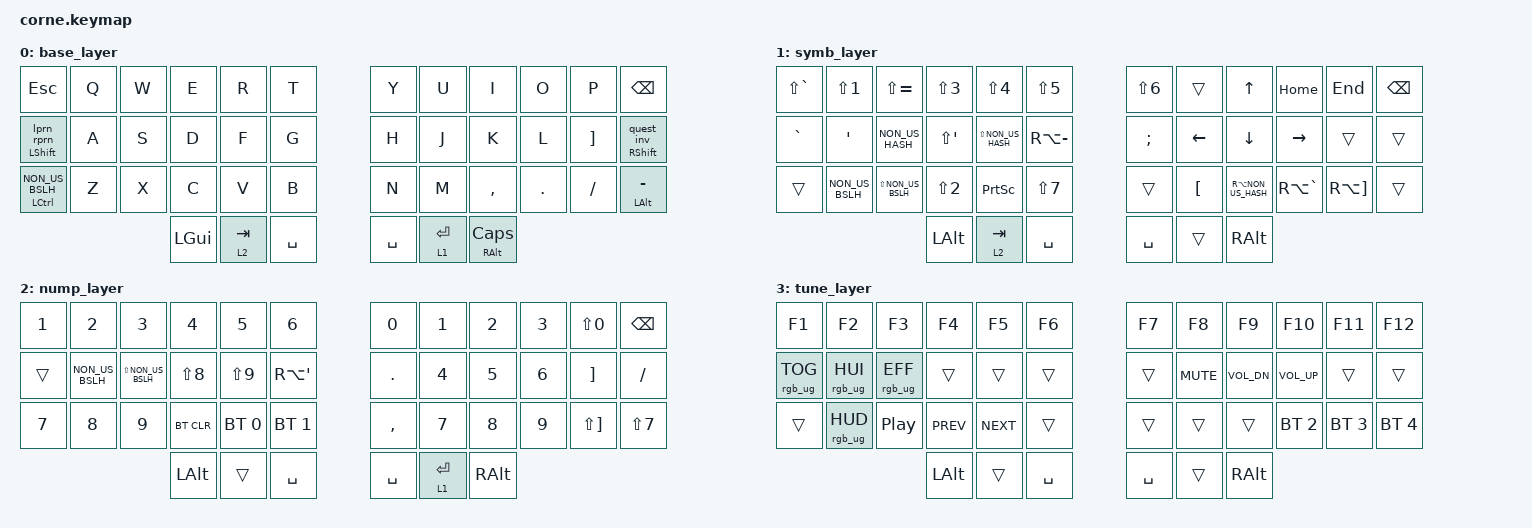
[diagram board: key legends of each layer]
/*
 * Corne keymap - Layout Latinoamericano
 * Traducido desde QMK a ZMK
 *
 * Layers:
 *   0 = BASE
 *   1 = SYMB
 *   2 = NUMP
 *   3 = TUNE  (se activa cuando SYMB y NUMP están activos al mismo tiempo)
 *
 * Notas de traducción QMK → ZMK:
 *   - MT(LAYER, TAB) / MT(LAYER, ENT) → &lt (layer-tap)
 *   - LSFT_T(LPRN) → tap=(  hold=LSHIFT   [RSHIFT+tap=) via mod-morph]
 *   - RSFT_T(QUEST_INV) → tap=¿  hold=RSHIFT  [LSHIFT+tap=? via mod-morph]
 *   - LCTL_T(LINEQ) → tap=<  hold=LCTRL
 *   - LALT_T(QUOTE) → tap='  hold=LALT
 *   - RALT_T(CAPS)  → tap=CAPS hold=RALT
 *   - update_tri_layer → en ZMK se define en conditional_layers
 *   - RGB → ZMK usa &rgb_ug, incluido en TUNE layer
 *   - Los keycodes están ajustados para layout LATINOAMERICANO en Windows
 */

#include <behaviors.dtsi>
#include <dt-bindings/zmk/keys.h>
#include <dt-bindings/zmk/bt.h>
#include <dt-bindings/zmk/rgb.h>
#include <dt-bindings/zmk/outputs.h>

/* ── Aliases de teclas para layout latinoamericano en Windows ───────────────*/

#define LA_Q     Q
#define LA_W     W
#define LA_E     E
#define LA_R     R
#define LA_T     T
#define LA_Y     Y
#define LA_U     U
#define LA_I     I
#define LA_O     O
#define LA_P     P
#define LA_A     A
#define LA_S     S
#define LA_D     D
#define LA_F     F
#define LA_G     G
#define LA_H     H
#define LA_J     J
#define LA_K     K
#define LA_L     L
#define LA_NTIL  SEMI
#define LA_Z     Z
#define LA_X     X
#define LA_C     C
#define LA_V     V
#define LA_B     B
#define LA_N     N
#define LA_M     M

#define LA_1     N1
#define LA_2     N2
#define LA_3     N3
#define LA_4     N4
#define LA_5     N5
#define LA_6     N6
#define LA_7     N7
#define LA_8     N8
#define LA_9     N9
#define LA_0     N0

#define LA_ENT   RET
#define LA_BSPC  BSPC
#define LA_SPC   SPACE
#define LA_ESC   ESC
#define LA_TAB   TAB
#define LA_DEL   DEL
#define LA_CAPS  CAPS

#define LA_LEFT  LEFT
#define LA_DOWN  DOWN
#define LA_UP    UP
#define LA_RIGHT RIGHT
#define LA_PGDN  PG_DN
#define LA_PGUP  PG_UP
#define LA_HOME  HOME
#define LA_END   END
#define LA_PSCR  PSCRN
#define LA_INS   INS

#define LA_LCTRL LCTRL
#define LA_LCMD  LGUI
#define LA_LSFT  LSHFT
#define LA_RSFT  RSHFT
#define LA_ALTGR RALT
#define LA_ALT   LALT

#define LA_VOLU  C_VOL_UP
#define LA_VOLD  C_VOL_DN
#define LA_MUTE  C_MUTE
#define LA_MNXT  C_NEXT
#define LA_MPRV  C_PREV
#define LA_MPLY  C_PP

#define LA_F1    F1
#define LA_F2    F2
#define LA_F3    F3
#define LA_F4    F4
#define LA_F5    F5
#define LA_F6    F6
#define LA_F7    F7
#define LA_F8    F8
#define LA_F9    F9
#define LA_F10   F10
#define LA_F11   F11
#define LA_F12   F12

/* ── Símbolos en layout latinoamericano ─────────────────────────────────────*/

#define LA_QUOTE     MINUS
#define LA_PLUS      RBKT
#define LA_MINUS     FSLH
#define LA_LINEQ     NON_US_BSLH
#define LA_PIPE      GRAVE
#define LA_ACUTE     LBKT
#define LA_LCBRC     SQT
#define LA_RCBRC     NON_US_HASH
#define LA_QUEST_INV EQUAL

#define LA_EXLM      LS(N1)
#define LA_DQUO      LS(N2)
#define LA_HASH      LS(N3)
#define LA_DOLLAR    LS(N4)
#define LA_PERC      LS(N5)
#define LA_AMPR      LS(N6)
#define LA_SLASH     LS(N7)
#define LA_LPRN      LS(N8)
#define LA_RPRN      LS(N9)
#define LA_EQUAL     LS(N0)
#define LA_QUEST     LS(MINUS)
#define LA_EXLM_INV  LS(EQUAL)
#define LA_SCLN      LS(COMMA)
#define LA_COLON     LS(DOT)
#define LA_LSBRC     LS(SQT)
#define LA_RSBRC     LS(NON_US_HASH)
#define LA_ASTR      LS(RBKT)
#define LA_UNDS      LS(FSLH)
#define LA_RINEQ     LS(NON_US_BSLH)
#define LA_DEGREE    LS(GRAVE)
#define LA_DIAER     LS(LBKT)

#define LA_AT        RA(Q)
#define LA_TILDE     RA(RBKT)
#define LA_CIRC      RA(SQT)
#define LA_BSLS      RA(MINUS)
#define LA_GRAVE     RA(NON_US_HASH)
#define LA_NEG       RA(GRAVE)

/* ══════════════════════════════════════════════════════════════════════════════
   CONFIGURACIÓN DE BEHAVIORS
   ══════════════════════════════════════════════════════════════════════════════ */

/ {

    conditional_layers {
        compatible = "zmk,conditional-layers";
        tune_layer {
            if-layers = <1 2>;
            then-layer = <3>;
        };
    };

    behaviors {

        /* TAB / layer NUMP: tap=TAB, hold=layer 2 */
        lt_tab: lt_tab {
            compatible = "zmk,behavior-hold-tap";
            #binding-cells = <2>;
            flavor = "tap-preferred";
            tapping-term-ms = <125>;
            bindings = <&mo>, <&kp>;
        };

        /* ENT / layer SYMB: tap=ENTER, hold=layer 1 */
        lt_ent: lt_ent {
            compatible = "zmk,behavior-hold-tap";
            #binding-cells = <2>;
            flavor = "tap-preferred";
            tapping-term-ms = <125>;
            bindings = <&mo>, <&kp>;
        };

        /*
         * lprn_rprn — mod-morph para la tecla izquierda de shift:
         *   sin modificador  → (
         *   con RSHIFT       → )
         *   (solo MOD_RSFT para no colisionar con hold=LSHIFT de mt_sft_lprn)
         */
        lprn_rprn: lprn_rprn {
            compatible = "zmk,behavior-mod-morph";
            #binding-cells = <0>;
            bindings = <&kp LA_LPRN>, <&kp LA_RPRN>;
            mods = <(MOD_RSFT)>;
        };

        /*
         * quest_inv — mod-morph para la tecla derecha de shift:
         *   sin modificador  → ¿
         *   con LSHIFT       → ?
         *   (solo MOD_LSFT para no colisionar con hold=RSHIFT de mt_sft_quest)
         */
        quest_inv: quest_inv {
            compatible = "zmk,behavior-mod-morph";
            #binding-cells = <0>;
            bindings = <&kp LA_QUEST_INV>, <&kp LA_QUEST>;
            mods = <(MOD_LSFT)>;
        };

        /*
         * mt_sft_lprn — hold-tap para la tecla física izquierda de shift:
         *   tap  → lprn_rprn  (  /  RSHIFT+tap = )
         *   hold → LSHIFT
         *
         *   Nota: el segundo binding-cell (posición del tap) es ignorado porque
         *   bindings apunta directamente al behavior lprn_rprn. Se pasa 0 como
         *   placeholder en el keymap.
         */
        mt_sft_lprn: mt_sft_lprn {
            compatible = "zmk,behavior-hold-tap";
            #binding-cells = <2>;
            flavor = "tap-preferred";
            tapping-term-ms = <125>;
            bindings = <&kp>, <&lprn_rprn>;
        };

        /*
         * mt_sft_quest — hold-tap para la tecla física derecha de shift:
         *   tap  → quest_inv  ¿  /  LSHIFT+tap = ?
         *   hold → RSHIFT
         */
        mt_sft_quest: mt_sft_quest {
            compatible = "zmk,behavior-hold-tap";
            #binding-cells = <2>;
            flavor = "tap-preferred";
            tapping-term-ms = <125>;
            bindings = <&kp>, <&quest_inv>;
        };

        /* LCTRL / < : tap=<  hold=LCTRL */
        mt_ctl_lt: mt_ctl_lt {
            compatible = "zmk,behavior-hold-tap";
            #binding-cells = <2>;
            flavor = "tap-preferred";
            tapping-term-ms = <125>;
            bindings = <&kp>, <&kp>;
        };

        /* LALT / ' : tap='  hold=LALT */
        mt_alt_quote: mt_alt_quote {
            compatible = "zmk,behavior-hold-tap";
            #binding-cells = <2>;
            flavor = "tap-preferred";
            tapping-term-ms = <125>;
            bindings = <&kp>, <&kp>;
        };

        /* RALT / CAPS : tap=CAPS  hold=RALT (ALTGR) */
        mt_ralt_caps: mt_ralt_caps {
            compatible = "zmk,behavior-hold-tap";
            #binding-cells = <2>;
            flavor = "tap-preferred";
            tapping-term-ms = <125>;
            bindings = <&kp>, <&kp>;
        };

    };

    /* ══════════════════════════════════════════════════════════════════════════
       KEYMAP
       ══════════════════════════════════════════════════════════════════════════ */

    keymap {
        compatible = "zmk,keymap";

        /* ── Layer 0: BASE ──────────────────────────────────────────────────────
         *
         *  .---------------------------------------------------------------.                .---------------------------------------------------------------.
         *  |  ESC  |   Q   |   W   |   E   |   R   |   T   |                |   Y   |   U   |   I   |   O   |   P   | BSPC  |
         *  |-------+-------+-------+-------+-------+-------|  BASE          |-------+-------+-------+-------+-------+-------|
         *  | SFT ( |   A   |   S   |   D   |   F   |   G   |                |   H   |   J   |   K   |   L   |  + *  | SFT ¿?|
         *  |-------+-------+-------+-------+-------+-------|                |-------+-------+-------+-------+-------+-------|
         *  | CTL < |   Z   |   X   |   C   |   V   |   B   |                |   N   |   M   |  , ;  |  . :  |  - _  | ALT ' |
         *  '------------------------------------------------------|   |------------------------------------------------------------'
         *                          |  GUI  | TAB/NUMP |  SPC  |   |  SPC  | ENT/SYMB | ALTGR/CAPS |
         *
         *  tap/hold/combo:
         *    col 0 fila 1: tap=(  hold=LSHIFT  RSHIFT+tap=)
         *    col 5 fila 1: tap=¿  hold=RSHIFT  LSHIFT+tap=?
         *    col 0 fila 2: tap=<  hold=LCTRL
         *    col 5 fila 2: tap='  hold=LALT
         *    thumb der 3:  tap=CAPS  hold=RALT
         */
        base_layer {
            bindings = <
// ╭──────────────────────┬──────────────────────┬──────────────────────┬──────────────────────┬──────────────────────┬──────────────────────╮   ╭──────────────────────┬──────────────────────┬──────────────────────┬──────────────────────┬──────────────────────┬──────────────────────╮
    &kp LA_ESC              &kp LA_Q               &kp LA_W               &kp LA_E               &kp LA_R               &kp LA_T                  &kp LA_Y               &kp LA_U               &kp LA_I               &kp LA_O               &kp LA_P               &kp LA_BSPC
// ├──────────────────────┼──────────────────────┼──────────────────────┼──────────────────────┼──────────────────────┼──────────────────────┤   ├──────────────────────┼──────────────────────┼──────────────────────┼──────────────────────┼──────────────────────┼──────────────────────┤
    &mt_sft_lprn LSHFT 0    &kp LA_A               &kp LA_S               &kp LA_D               &kp LA_F               &kp LA_G                  &kp LA_H               &kp LA_J               &kp LA_K               &kp LA_L               &kp LA_PLUS            &mt_sft_quest RSHFT 0
// ├──────────────────────┼──────────────────────┼──────────────────────┼──────────────────────┼──────────────────────┼──────────────────────┤   ├──────────────────────┼──────────────────────┼──────────────────────┼──────────────────────┼──────────────────────┼──────────────────────┤
    &mt_ctl_lt LCTRL LA_LINEQ  &kp LA_Z            &kp LA_X               &kp LA_C               &kp LA_V               &kp LA_B                  &kp LA_N               &kp LA_M               &kp COMMA              &kp DOT                &kp LA_MINUS           &mt_alt_quote LALT LA_QUOTE
// ╰──────────────────────┴──────────────────────┴──────────────────────┼──────────────────────┼──────────────────────┼──────────────────────┤   ├──────────────────────┼──────────────────────┼──────────────────────┼──────────────────────┴──────────────────────┴──────────────────────╯
                                                                          &kp LA_LCMD            &lt_tab 2 LA_TAB       &kp LA_SPC                &kp LA_SPC             &lt_ent 1 LA_ENT       &mt_ralt_caps RALT LA_CAPS
//                                                                       ╰──────────────────────┴──────────────────────┴─────────────────────╯   ╰──────────────────────┴──────────────────────┴──────────────────────╯
            >;
        };

        /* ── Layer 1: SYMB ──────────────────────────────────────────────────────
         *
         *  .------------------------------------------------------.          .---------------------------------------------------------------.
         *  |   °   |   !   |   ¡   |   #   |   $   |   %   |       |         |   &   |       |   ↑   |  INI  |  END  | BSPC  |
         *  |-------+-------+-------+-------+-------+-------|  SYMB |         |-------+-------+-------+-------+-------+-------|
         *  |   |   |   {   |   }   |   [   |   ]   |   \   |       |         |   ñ   |   ←   |   ↓   |   →   |       |       |
         *  |-------+-------+-------+-------+-------+-------|       |         |-------+-------+-------+-------+-------+-------|
         *  |       |   <   |   >   |   "   |  PSCR |   /   |       |         |       |   ´   |   `   |   ¬   |   ~   |       |
         *  '-------------------------------------------------------|         |------------------------------------------------------------'
         *                          |  ALT  |    TAB/NUMP   |  SPC  |         |  SPC  | (SYMB) |  ALTGR  |
         */
        symb_layer {
            bindings = <
// ╭──────────────────────┬──────────────────────┬──────────────────────┬──────────────────────┬──────────────────────┬──────────────────────╮   ╭──────────────────────┬──────────────────────┬──────────────────────┬──────────────────────┬──────────────────────┬──────────────────────╮
    &kp LA_DEGREE           &kp LA_EXLM            &kp LA_EXLM_INV        &kp LA_HASH            &kp LA_DOLLAR          &kp LA_PERC                &kp LA_AMPR            &trans                 &kp LA_UP              &kp LA_HOME            &kp LA_END             &kp LA_BSPC
// ├──────────────────────┼──────────────────────┼──────────────────────┼──────────────────────┼──────────────────────┼──────────────────────┤   ├──────────────────────┼──────────────────────┼──────────────────────┼──────────────────────┼──────────────────────┼──────────────────────┤
    &kp LA_PIPE             &kp LA_LCBRC           &kp LA_RCBRC           &kp LA_LSBRC           &kp LA_RSBRC           &kp LA_BSLS                &kp LA_NTIL            &kp LA_LEFT            &kp LA_DOWN            &kp LA_RIGHT           &trans                 &trans
// ├──────────────────────┼──────────────────────┼──────────────────────┼──────────────────────┼──────────────────────┼──────────────────────┤   ├──────────────────────┼──────────────────────┼──────────────────────┼──────────────────────┼──────────────────────┼──────────────────────┤
    &trans                  &kp LA_LINEQ           &kp LA_RINEQ           &kp LA_DQUO            &kp LA_PSCR            &kp LA_SLASH               &trans                 &kp LA_ACUTE           &kp LA_GRAVE           &kp LA_NEG             &kp LA_TILDE           &trans
// ╰──────────────────────┴──────────────────────┴──────────────────────┼──────────────────────┼──────────────────────┼──────────────────────┤   ├──────────────────────┼──────────────────────┼──────────────────────┼──────────────────────┴──────────────────────┴──────────────────────╯
                                                                          &kp LA_ALT             &lt_tab 2 LA_TAB       &kp LA_SPC                 &kp LA_SPC             &trans                 &kp LA_ALTGR
//                                                                       ╰──────────────────────┴──────────────────────┴──────────────────────╯   ╰──────────────────────┴──────────────────────┴──────────────────────╯
            >;
        };

        /* ── Layer 2: NUMP ──────────────────────────────────────────────────────
         *
         *  .---------------------------------------------------------------.                .---------------------------------------------------------------.
         *  |   1   |   2   |   3   |   4   |   5   |  6    |                |   0   |   1   |   2   |   3   |   =   | BSPC  |
         *  |-------+-------+-------+-------+-------+-------|  NUMP          |-------+-------+-------+-------+-------+-------|
         *  |       |   <   |   >   |   (   |   )   |   ^   |                |   .   |   4   |   5   |   6   |   +   |   -   |
         *  |-------+-------+-------+-------+-------+-------|                |-------+-------+-------+-------+-------+-------|
         *  |   7   |   8   |   9   |BT_CLR | BT 0  |  BT 1 |                |   ,   |   7   |   8   |   9   |   *   |  /    |
         *  '------------------------------------------------------|   |------------------------------------------------------'
         *                          |  ALT  |  (NUMP)  |  SPC  |   |  SPC  | ENT/SYMB |  ALTGR  |
         */
        nump_layer {
            bindings = <
// ╭──────────────────────┬──────────────────────┬──────────────────────┬──────────────────────┬──────────────────────┬──────────────────────╮   ╭──────────────────────┬──────────────────────┬──────────────────────┬──────────────────────┬──────────────────────┬──────────────────────╮
    &kp LA_1               &kp LA_2               &kp LA_3               &kp LA_4               &kp LA_5               &kp LA_6                   &kp LA_0               &kp LA_1               &kp LA_2               &kp LA_3               &kp LA_EQUAL           &kp LA_BSPC
// ├──────────────────────┼──────────────────────┼──────────────────────┼──────────────────────┼──────────────────────┼──────────────────────┤   ├──────────────────────┼──────────────────────┼──────────────────────┼──────────────────────┼──────────────────────┼──────────────────────┤
    &trans                 &kp LA_LINEQ           &kp LA_RINEQ           &kp LA_LPRN            &kp LA_RPRN            &kp LA_CIRC                &kp DOT                &kp LA_4               &kp LA_5               &kp LA_6               &kp LA_PLUS            &kp LA_MINUS
// ├──────────────────────┼──────────────────────┼──────────────────────┼──────────────────────┼──────────────────────┼──────────────────────┤   ├──────────────────────┼──────────────────────┼──────────────────────┼──────────────────────┼──────────────────────┼──────────────────────┤
    &kp LA_7               &kp LA_8               &kp LA_9               &bt BT_CLR             &bt BT_SEL 0           &bt BT_SEL 1               &kp COMMA              &kp LA_7               &kp LA_8               &kp LA_9               &kp LA_ASTR            &kp LA_SLASH
// ╰──────────────────────┴──────────────────────┴──────────────────────┼──────────────────────┼──────────────────────┼──────────────────────┤   ├──────────────────────┼──────────────────────┼──────────────────────┼──────────────────────┴──────────────────────┴──────────────────────╯
                                                                          &kp LA_ALT             &trans                 &kp LA_SPC                 &kp LA_SPC             &lt_ent 1 LA_ENT       &kp LA_ALTGR
//                                                                       ╰──────────────────────┴──────────────────────┴──────────────────────╯   ╰──────────────────────┴──────────────────────┴──────────────────────╯
            >;
        };

        /* ── Layer 3: TUNE (tri-layer: SYMB + NUMP) ─────────────────────────────
         *
         *  .---------------------------------------------------------------.                .---------------------------------------------------------------.
         *  |   F1  |   F2  |   F3  |   F4  |   F5  |   F6  |                |   F7  |   F8  |   F9  |  F10  |  F11  |  F12  |
         *  |-------+-------+-------+-------+-------+-------|  TUNE          |-------+-------+-------+-------+-------+-------|
         *  |RGB_TOG|RGB_HUI|RGB_EFF|       |       |       |                |       |  MUTE | VOL-  | VOL+  |       |       |
         *  |-------+-------+-------+-------+-------+-------|                |-------+-------+-------+-------+-------+-------|
         *  |       |RGB_HUD| PLAY  |  PREV |  NEXT |       |                |       |       |       | BT 2  | BT 3  | BT 4  |
         *  '------------------------------------------------------|   |------------------------------------------------------------'
         *                          |  ALT  |          |  SPC  |   |  SPC  |          |  ALTGR  |
         */
        tune_layer {
            bindings = <
// ╭──────────────────────┬──────────────────────┬──────────────────────┬──────────────────────┬──────────────────────┬──────────────────────╮   ╭──────────────────────┬──────────────────────┬──────────────────────┬──────────────────────┬──────────────────────┬──────────────────────╮
    &kp LA_F1               &kp LA_F2              &kp LA_F3              &kp LA_F4              &kp LA_F5              &kp LA_F6                  &kp LA_F7              &kp LA_F8              &kp LA_F9              &kp LA_F10             &kp LA_F11             &kp LA_F12
// ├──────────────────────┼──────────────────────┼──────────────────────┼──────────────────────┼──────────────────────┼──────────────────────┤   ├──────────────────────┼──────────────────────┼──────────────────────┼──────────────────────┼──────────────────────┼──────────────────────┤
    &rgb_ug RGB_TOG         &rgb_ug RGB_HUI        &rgb_ug RGB_EFF        &trans                 &trans                 &trans                     &trans                 &kp LA_MUTE            &kp LA_VOLD            &kp LA_VOLU            &trans                 &trans
// ├──────────────────────┼──────────────────────┼──────────────────────┼──────────────────────┼──────────────────────┼──────────────────────┤   ├──────────────────────┼──────────────────────┼──────────────────────┼──────────────────────┼──────────────────────┼──────────────────────┤
    &trans                  &rgb_ug RGB_HUD        &kp LA_MPLY            &kp LA_MPRV            &kp LA_MNXT            &trans                     &trans                 &trans                 &trans                 &bt BT_SEL 2           &bt BT_SEL 3           &bt BT_SEL 4
// ╰──────────────────────┴──────────────────────┴──────────────────────┼──────────────────────┼──────────────────────┼──────────────────────┤   ├──────────────────────┼──────────────────────┼──────────────────────┼──────────────────────┴──────────────────────┴──────────────────────╯
                                                                          &kp LA_ALT             &trans                 &kp LA_SPC                 &kp LA_SPC             &trans                 &kp LA_ALTGR
//                                                                       ╰──────────────────────┴──────────────────────┴──────────────────────╯   ╰──────────────────────┴──────────────────────┴──────────────────────╯
            >;
        };

    }; // keymap

}; // root

&led_strip {
    chain-length = <27>; 
};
